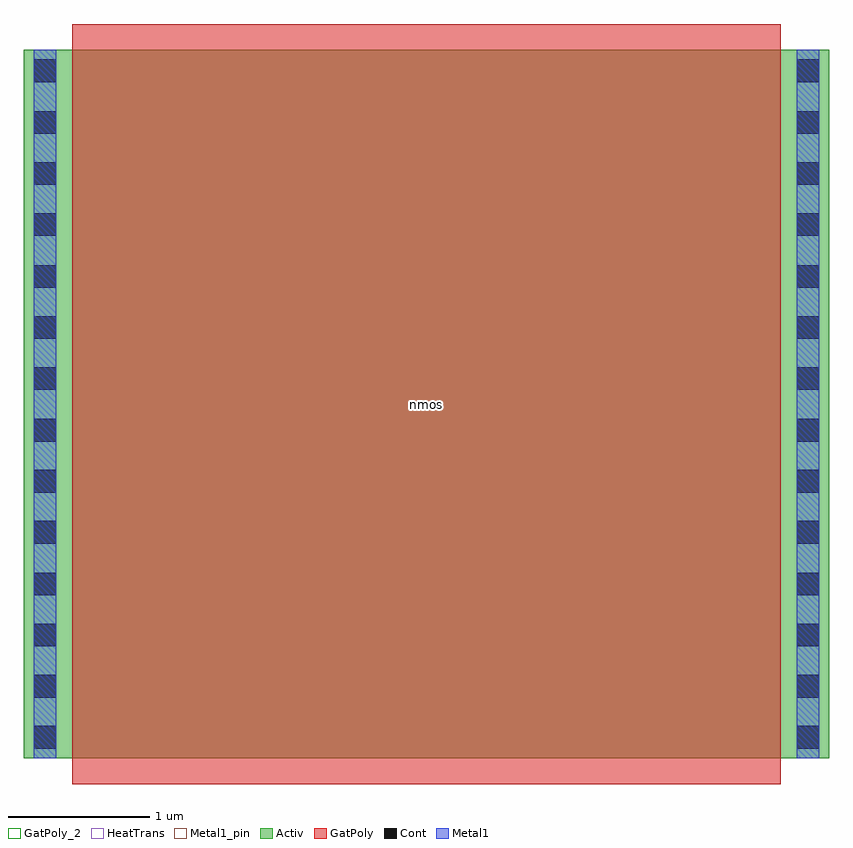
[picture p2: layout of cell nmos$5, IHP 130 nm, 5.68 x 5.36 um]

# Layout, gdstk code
import gdstk
lib = gdstk.Library(unit=1e-6, precision=1e-09)
def R(c, l, rs):  # rectangles x0, y0, x1, y1
    for r in rs: c.add(gdstk.rectangle(r[:2], r[2:], *l))
def A(c, l, x, y, w, h, nx, ny, dx, dy):  # array of equal rectangles
    R(c, l, [(x+i*dx, y+j*dy, x+i*dx+w, y+j*dy+h) for i in range(nx) for j in range(ny)])
Activ = (1, 0)
GatPoly = (5, 0)
GatPoly_2 = (5, 2)
Cont = (6, 0)
Metal1 = (8, 0)
Metal1_pin = (8, 2)
HeatTrans = (51, 0)

nmos_5 = lib.new_cell('nmos$5')
R(nmos_5, Activ, [(0,0,0.3,0.3), (0,0,5.68,5), (5.38,0,5.68,0.3)])
R(nmos_5, GatPoly, [(0.34,-0.18,5.34,5.18)])
R(nmos_5, GatPoly_2, [(0.34,-0.18,5.34,5.18)])
A(nmos_5, Cont, 0.07, 0.07, 0.16, 0.16, 1, 4, 0, 0.36)
A(nmos_5, Cont, 5.45, 0.07, 0.16, 0.16, 1, 4, 0, 0.36)
A(nmos_5, Cont, 0.07, 1.515, 0.16, 0.16, 1, 3, 0, 0.36)
A(nmos_5, Cont, 5.45, 1.515, 0.16, 0.16, 1, 3, 0, 0.36)
A(nmos_5, Cont, 0.07, 2.6, 0.16, 0.16, 1, 3, 0, 0.36)
A(nmos_5, Cont, 5.45, 2.6, 0.16, 0.16, 1, 3, 0, 0.36)
A(nmos_5, Cont, 0.07, 3.685, 0.16, 0.16, 1, 3, 0, 0.36)
A(nmos_5, Cont, 5.45, 3.685, 0.16, 0.16, 1, 3, 0, 0.36)
R(nmos_5, Cont, [(0.07,4.77,0.23,4.93), (5.45,4.77,5.61,4.93)])
R(nmos_5, Metal1, [(0.07,0,0.23,5), (5.45,0,5.61,5)])
R(nmos_5, Metal1_pin, [(0.07,0,0.23,5), (5.45,0,5.61,5)])
R(nmos_5, HeatTrans, [(0.34,-0.18,5.34,5.18)])
nmos_5.add(gdstk.Label('nmos', (2.84,2.5), layer=63, texttype=0))
nmos_5.add(gdstk.Label('nmos', (2.84,2.5), layer=51, texttype=0))

lib.write_gds('nmos_5.gds')
